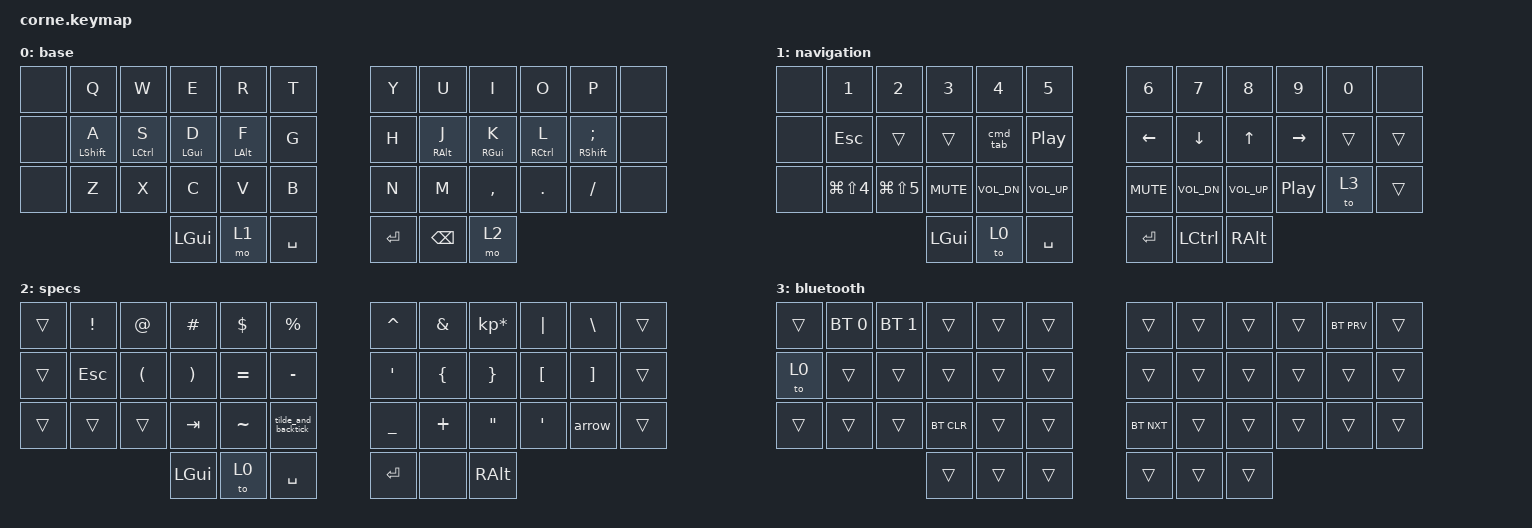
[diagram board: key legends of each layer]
/*
 * Copyright (c) 2020 The ZMK Contributors
 *
 * SPDX-License-Identifier: MIT
 */

#include <behaviors.dtsi>
#include <dt-bindings/zmk/bt.h>
#include <dt-bindings/zmk/keys.h>

/ {
    behaviors {
        hml: homerow_mods_left {
            compatible = "zmk,behavior-hold-tap";
            label = "HOMEROW_MODS_LEFT_HAND";
            bindings = <&kp>, <&kp>;

            #binding-cells = <2>;
            tapping-term-ms = <280>;
            hold-trigger-key-positions = <6 7 8 9 10 18 19 20 21 22 30 31 32 33 34 6 7 8 9 10 11 18 19 20 21 22 23 30 31 32 33 34 35 39 40 41>;
            flavor = "balanced";
            quick-tap-ms = <175>;
            require-prior-idle-ms = <140>;
            hold-trigger-on-release;
        };

        hmr: homewrow_mods_right {
            compatible = "zmk,behavior-hold-tap";
            label = "HOMEROW_MODS_RIGHT_HAND";
            bindings = <&kp>, <&kp>;

            #binding-cells = <2>;
            tapping-term-ms = <280>;
            hold-trigger-key-positions = <0 1 2 3 4 5 12 13 14 15 16 17 24 25 26 27 28 29 36 37 38>;
            flavor = "balanced";
            quick-tap-ms = <175>;
            require-prior-idle-ms = <140>;
            hold-trigger-on-release;
        };

        tilde_and_backtick: tilde_and_backtick {
            compatible = "zmk,behavior-mod-morph";
            label = "TILDE_AND_BACKTICK";
            bindings = <&kp GRAVE>, <&none>;

            #binding-cells = <0>;
            mods = <(MOD_LGUI)>;
        };
    };

    combos {
        compatible = "zmk,combos";

        tab {
            bindings = <&kp TAB>;
            key-positions = <1 2>;
        };

        caps {
            bindings = <&kp CAPS>;
            key-positions = <17 18>;
        };

        lshift {
            bindings = <&kp LSHFT>;
            key-positions = <>;
        };

        rshift {
            bindings = <&kp RIGHT_SHIFT>;
            key-positions = <>;
        };

        option {
            bindings = <&kp LEFT_ALT>;
            key-positions = <>;
        };

        ctrl {
            bindings = <&kp LEFT_CONTROL>;
            key-positions = <>;
        };

        backspace {
            bindings = <&kp BACKSPACE>;
            key-positions = <>;
        };

        cmdspace {
            bindings = <&kp LG(SPACE)>;
            key-positions = <>;
        };

        rightctrl {
            bindings = <&kp LEFT_CONTROL>;
            key-positions = <>;
        };

        rightoption {
            bindings = <&kp LEFT_ALT>;
            key-positions = <>;
        };
    };

    macros {
        arrow: arrow {
            compatible = "zmk,behavior-macro";
            #binding-cells = <0>;
            bindings = <&kp EQUAL &kp GREATER_THAN>;
            label = "ARROW";
        };

        cmd_tab: cmd_tab {
            compatible = "zmk,behavior-macro";
            #binding-cells = <0>;
            bindings = <&kp LG(TAB)>;
            label = "CMD_TAB";
        };
    };

    keymap {
        compatible = "zmk,keymap";

        base {
            // -----------------------------------------------------------------------------------------
            // |  TAB |  Q  |  W  |  E  |  R  |  T  |   |  Y  |  U   |  I  |  O  |  P  | BKSP |
            // | CTRL |  A  |  S  |  D  |  F  |  G  |   |  H  |  J   |  K  |  L  |  ;  |  '   |
            // | SHFT |  Z  |  X  |  C  |  V  |  B  |   |  N  |  M   |  ,  |  .  |  /  | ESC  |
            //                    | GUI | LWR | SPC |   | ENT | RSE  | ALT |

            bindings = <
&none  &kp Q         &kp W         &kp E            &kp R        &kp T        &kp Y    &kp U          &kp I             &kp O         &kp P             &none
&none  &hml LSHFT A  &hml LCTRL S  &hml LEFT_GUI D  &hml LALT F  &kp G        &kp H    &hmr RALT J    &hmr RIGHT_GUI K  &hmr RCTRL L  &hmr RSHIFT SEMI  &none
&none  &kp Z         &kp X         &kp C            &kp V        &kp B        &kp N    &kp M          &kp COMMA         &kp DOT       &kp FSLH          &none
                                   &kp LGUI         &mo 1        &kp SPACE    &kp RET  &kp BACKSPACE  &mo 2
            >;
        };

        navigation {
            // -----------------------------------------------------------------------------------------
            // |  TAB |  1  |  2  |  3  |  4  |  5  |   |  6  |  7  |  8  |  9  |  0  | BKSP |
            // | BTCLR| BT1 | BT2 | BT3 | BT4 | BT5 |   | LFT | DWN |  UP | RGT |     |      |
            // | SHFT |     |     |     |     |     |   |     |     |     |     |     |      |
            //                    | GUI |     | SPC |   | ENT |     | ALT |

            bindings = <
&none  &kp N1                &kp N2          &kp N3      &kp N4        &kp N5          &kp N6      &kp N7        &kp N8           &kp N9            &kp N0  &none
&none  &kp ESCAPE            &trans          &trans      &cmd_tab      &kp C_PP        &kp LEFT    &kp DOWN      &kp UP           &kp RIGHT         &trans  &trans
&none  &kp LG(LS(NUMBER_4))  &kp LG(LS(N5))  &kp K_MUTE  &kp C_VOL_DN  &kp C_VOL_UP    &kp K_MUTE  &kp C_VOL_DN  &kp C_VOLUME_UP  &kp C_PLAY_PAUSE  &to 3   &trans
                                             &kp LGUI    &to 0         &kp SPACE       &kp RET     &kp LCTRL     &kp RALT
            >;
        };

        specs {
            // -----------------------------------------------------------------------------------------
            // |  TAB |  !  |  @  |  #  |  $  |  %  |   |  ^  |  &  |  *  |  (  |  )  | BKSP |
            // | CTRL |     |     |     |     |     |   |  -  |  =  |  [  |  ]  |  \  |  `   |
            // | SHFT |     |     |     |     |     |   |  _  |  +  |  {  |  }  | "|" |  ~   |
            //                    | GUI |     | SPC |   | ENT |     | ALT |

            bindings = <
&trans  &kp EXCLAMATION  &kp AT                &kp HASH               &kp DLLR   &kp PRCNT              &kp CARET         &kp AMPS        &kp KP_MULTIPLY    &kp PIPE          &kp BACKSLASH      &trans
&trans  &kp ESC          &kp LEFT_PARENTHESIS  &kp RIGHT_PARENTHESIS  &kp EQUAL  &kp MINUS              &kp SINGLE_QUOTE  &kp LEFT_BRACE  &kp RIGHT_BRACE    &kp LEFT_BRACKET  &kp RIGHT_BRACKET  &trans
&trans  &trans           &trans                &kp TAB                &kp TILDE  &tilde_and_backtick    &kp UNDER         &kp PLUS        &kp DOUBLE_QUOTES  &kp SINGLE_QUOTE  &arrow             &trans
                                               &kp LGUI               &to 0      &kp SPACE              &kp RET           &none           &kp RALT
            >;
        };

        bluetooth {
            bindings = <
&trans  &bt BT_SEL 0  &bt BT_SEL 1  &trans      &trans  &trans    &trans      &trans  &trans  &trans  &bt BT_PRV  &trans
&to 0   &trans        &trans        &trans      &trans  &trans    &trans      &trans  &trans  &trans  &trans      &trans
&trans  &trans        &trans        &bt BT_CLR  &trans  &trans    &bt BT_NXT  &trans  &trans  &trans  &trans      &trans
                                    &trans      &trans  &trans    &trans      &trans  &trans
            >;
        };
    };
};
